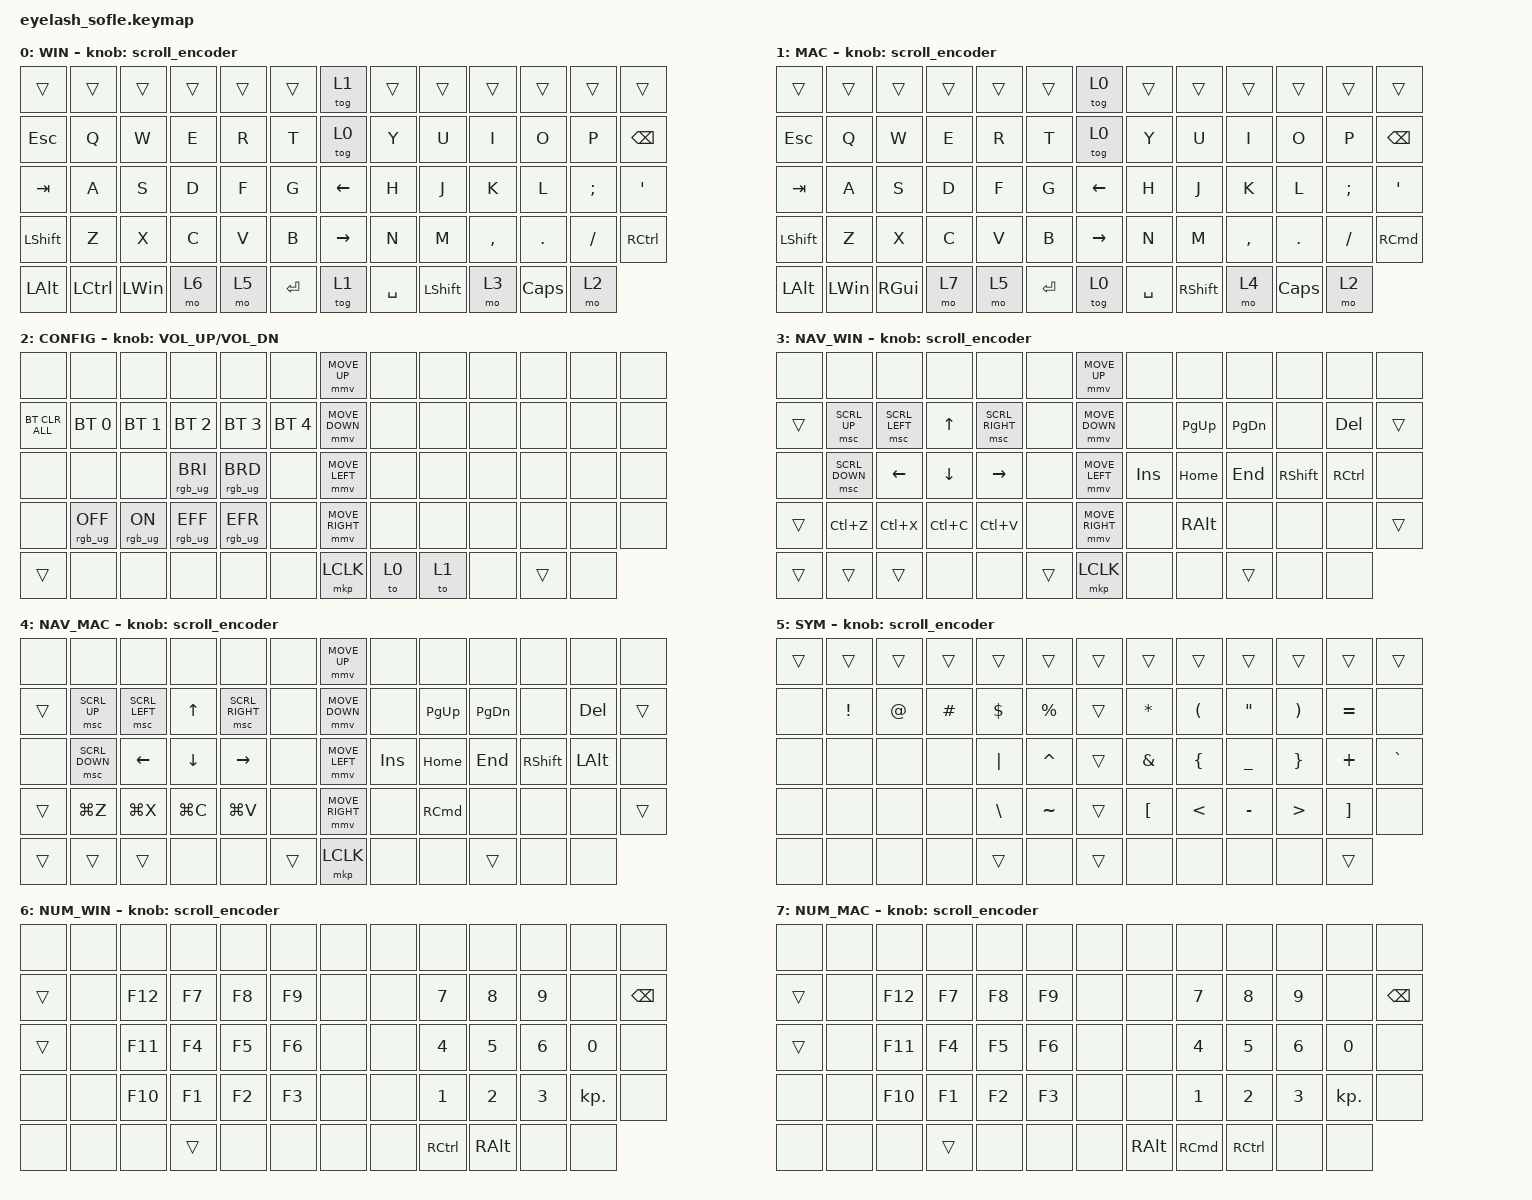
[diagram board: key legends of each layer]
#define ZMK_POINTING_DEFAULT_MOVE_VAL 1200  // 600
#define ZMK_POINTING_DEFAULT_SCRL_VAL 25    // 10

#include <input/processors.dtsi>
#include <zephyr/dt-bindings/input/input-event-codes.h>
#include <behaviors.dtsi>
#include <dt-bindings/zmk/bt.h>
#include <dt-bindings/zmk/keys.h>
#include <dt-bindings/zmk/pointing.h>
#include <dt-bindings/zmk/rgb.h>

&mmv_input_listener { input-processors = <&zip_xy_scaler 2 1>; };

&msc_input_listener { input-processors = <&zip_scroll_scaler 2 1>; };

&msc {
    acceleration-exponent = <1>;      // 0
    time-to-max-speed-ms = <100>;       // 300
    delay-ms = <0>;                   // 0
};

&mmv {
    time-to-max-speed-ms = <500>;
    acceleration-exponent = <1>;
    trigger-period-ms = <16>;
};

/ {
    scroll_encoder: scroll_encoder {
        compatible = "zmk,behavior-sensor-rotate";
        #sensor-binding-cells = <0>;
        bindings = <&msc SCRL_DOWN &msc SCRL_UP>;
        tap-ms = <100>;
    };

    behaviors {
        caps_shift: caps_shift {
            compatible = "zmk,behavior-hold-tap";
            #binding-cells = <2>;
            flavor = "tap-preferred";
            tapping-term-ms = <200>;
            bindings = <&kp>, <&kp>;
        };

        hrm: home_row_modifiers {
            compatible = "zmk,behavior-hold-tap";
            #binding-cells = <2>;
            flavor = "balanced";
            tapping-term-ms = <280>;
            quick-tap-ms = <175>;
            require-prior-idle-ms = <150>;
            bindings = <&kp>, <&kp>;
        };
    };

    combos {
        compatible = "zmk,combos";

        softoff {
            bindings = <&soft_off>;
            key-positions = <14 28 40>;
        };
    };

    macros {
        SHIFT_MCLK: SHIFT_MCLK {
            compatible = "zmk,behavior-macro";
            #binding-cells = <0>;
            bindings =
                <&macro_press>,
                <&kp LEFT_SHIFT>,
                <&macro_press>,
                <&mkp MB3>,
                <&macro_pause_for_release>,
                <&macro_release>,
                <&kp LEFT_SHIFT &mkp MB3>;

            label = "SHIFT_MCLK";
        };
    };

    keymap {
        compatible = "zmk,keymap";

        // Capa 0: Windows Base (L0 en Vial)

        Main {
            label = "Main_Win";
            display-name = "WIN";
            bindings = <
&trans          &trans            &trans        &trans  &trans  &trans       &tog 1           &trans     &trans          &trans     &trans    &trans    &trans
&kp ESCAPE      &kp Q             &kp W         &kp E   &kp R   &kp T        &tog 0           &kp Y      &kp U           &kp I      &kp O     &kp P     &kp BACKSPACE
&kp TAB         &kp A             &kp S         &kp D   &kp F   &kp G        &kp LEFT_ARROW   &kp H      &kp J           &kp K      &kp L     &kp SEMI  &kp SINGLE_QUOTE
&kp LEFT_SHIFT  &kp Z             &kp X         &kp C   &kp V   &kp B        &kp RIGHT_ARROW  &kp N      &kp M           &kp COMMA  &kp DOT   &kp FSLH  &kp RIGHT_CONTROL
&kp LEFT_ALT    &kp LEFT_CONTROL  &kp LEFT_WIN  &mo 6   &mo 5   &kp ENTER    &tog 1           &kp SPACE  &kp LEFT_SHIFT  &mo 3      &kp CAPS  &mo 2
            >;

            sensor-bindings = <&scroll_encoder>;
        };

        // Capa 1: Mac Base (L1 en Vial)

        Mac {
            label = "Main_Mac";
            display-name = "MAC";
            bindings = <
&trans          &trans        &trans    &trans  &trans  &trans       &tog 0           &trans     &trans           &trans     &trans    &trans    &trans
&kp ESCAPE      &kp Q         &kp W     &kp E   &kp R   &kp T        &tog 0           &kp Y      &kp U            &kp I      &kp O     &kp P     &kp BACKSPACE
&kp TAB         &kp A         &kp S     &kp D   &kp F   &kp G        &kp LEFT_ARROW   &kp H      &kp J            &kp K      &kp L     &kp SEMI  &kp SINGLE_QUOTE
&kp LEFT_SHIFT  &kp Z         &kp X     &kp C   &kp V   &kp B        &kp RIGHT_ARROW  &kp N      &kp M            &kp COMMA  &kp DOT   &kp FSLH  &kp RIGHT_COMMAND
&kp LEFT_ALT    &kp LEFT_WIN  &kp RGUI  &mo 7   &mo 5   &kp ENTER    &tog 0           &kp SPACE  &kp RIGHT_SHIFT  &mo 4      &kp CAPS  &mo 2
            >;

            sensor-bindings = <&scroll_encoder>;
        };

        // Capa 2: Configuración del Sistema y Bluetooth (L2 en Vial)

        HR_LConfig {
            display-name = "CONFIG";
            bindings = <
&none           &none            &none           &none            &none            &none           &mmv MOVE_UP     &none  &none  &none  &none   &none  &none
&bt BT_CLR_ALL  &bt BT_SEL 0     &bt BT_SEL 1    &bt BT_SEL 2     &bt BT_SEL 3     &bt BT_SEL 4    &mmv MOVE_DOWN   &none  &none  &none  &none   &none  &none
&none           &none            &none           &rgb_ug RGB_BRI  &rgb_ug RGB_BRD  &none           &mmv MOVE_LEFT   &none  &none  &none  &none   &none  &none
&none           &rgb_ug RGB_OFF  &rgb_ug RGB_ON  &rgb_ug RGB_EFF  &rgb_ug RGB_EFR  &none           &mmv MOVE_RIGHT  &none  &none  &none  &none   &none  &none
&trans          &none            &none           &none            &none            &none           &mkp LCLK        &to 0  &to 1  &none  &trans  &none
            >;

            sensor-bindings = <&inc_dec_kp C_VOLUME_UP C_VOL_DN>;
        };

        // Capa 3: Navegación Windows (L3 en Vial)

        OG_LMovement_Windows {
            display-name = "NAV_WIN";
            bindings = <
&none   &none           &none           &none           &none            &none     &mmv MOVE_UP     &none    &none          &none      &none            &none              &none
&trans  &msc SCRL_UP    &msc SCRL_LEFT  &kp UP_ARROW    &msc SCRL_RIGHT  &none     &mmv MOVE_DOWN   &none    &kp PG_UP      &kp PG_DN  &none            &kp DELETE         &trans
&none   &msc SCRL_DOWN  &kp LEFT_ARROW  &kp DOWN_ARROW  &kp RIGHT_ARROW  &none     &mmv MOVE_LEFT   &kp INS  &kp HOME       &kp END    &kp RIGHT_SHIFT  &kp RIGHT_CONTROL  &none
&trans  &kp LC(Z)       &kp LC(X)       &kp LC(C)       &kp LC(V)        &none     &mmv MOVE_RIGHT  &none    &kp RIGHT_ALT  &none      &none            &none              &trans
&trans  &trans          &trans          &none           &none            &trans    &mkp LCLK        &none    &none          &trans     &none            &none
            >;

            sensor-bindings = <&scroll_encoder>;
        };

        // Capa 4: Navegación Mac (L4 en Vial)

        OG_LMovement_Mac {
            display-name = "NAV_MAC";
            bindings = <
&none   &none           &none           &none           &none            &none     &mmv MOVE_UP     &none    &none              &none      &none            &none         &none
&trans  &msc SCRL_UP    &msc SCRL_LEFT  &kp UP_ARROW    &msc SCRL_RIGHT  &none     &mmv MOVE_DOWN   &none    &kp PG_UP          &kp PG_DN  &none            &kp DELETE    &trans
&none   &msc SCRL_DOWN  &kp LEFT_ARROW  &kp DOWN_ARROW  &kp RIGHT_ARROW  &none     &mmv MOVE_LEFT   &kp INS  &kp HOME           &kp END    &kp RIGHT_SHIFT  &kp LEFT_ALT  &none
&trans  &kp LG(Z)       &kp LG(X)       &kp LG(C)       &kp LG(V)        &none     &mmv MOVE_RIGHT  &none    &kp RIGHT_COMMAND  &none      &none            &none         &trans
&trans  &trans          &trans          &none           &none            &trans    &mkp LCLK        &none    &none              &trans     &none            &none
            >;

            sensor-bindings = <&scroll_encoder>;
        };

        // Capa 5: Símbolos (L5 en Vial)

        Signals {
            display-name = "SYM";
            bindings = <
&trans  &trans           &trans  &trans    &trans         &trans         &trans  &trans            &trans                &trans             &trans                 &trans             &trans
&none   &kp EXCLAMATION  &kp AT  &kp HASH  &kp DOLLAR     &kp PERCENT    &trans  &kp ASTERISK      &kp LEFT_PARENTHESIS  &kp DOUBLE_QUOTES  &kp RIGHT_PARENTHESIS  &kp EQUAL          &none
&none   &none            &none   &none     &kp PIPE       &kp CARET      &trans  &kp AMPS          &kp LEFT_BRACE        &kp UNDERSCORE     &kp RIGHT_BRACE        &kp PLUS           &kp GRAVE
&none   &none            &none   &none     &kp BACKSLASH  &kp TILDE      &trans  &kp LEFT_BRACKET  &kp LESS_THAN         &kp MINUS          &kp GREATER_THAN       &kp RIGHT_BRACKET  &none
&none   &none            &none   &none     &trans         &none          &trans  &none             &none                 &none              &none                  &trans
            >;

            sensor-bindings = <&scroll_encoder>;
        };

        // Capa 6: Números y Funciones Windows (L6 en Vial)

        NumberWin {
            display-name = "NUM_WIN";
            bindings = <
&none   &none  &none    &none   &none   &none     &none  &none  &none              &none          &none         &none       &none
&trans  &none  &kp F12  &kp F7  &kp F8  &kp F9    &none  &none  &kp NUMBER_7       &kp NUMBER_8   &kp NUMBER_9  &none       &kp BACKSPACE
&trans  &none  &kp F11  &kp F4  &kp F5  &kp F6    &none  &none  &kp NUMBER_4       &kp NUMBER_5   &kp NUMBER_6  &kp N0      &none
&none   &none  &kp F10  &kp F1  &kp F2  &kp F3    &none  &none  &kp NUMBER_1       &kp NUMBER_2   &kp NUMBER_3  &kp KP_DOT  &none
&none   &none  &none    &trans  &none   &none     &none  &none  &kp RIGHT_CONTROL  &kp RIGHT_ALT  &none         &none
            >;

            sensor-bindings = <&scroll_encoder>;
        };

        // Capa 7: Números y Funciones Mac (L7 en Vial)

        NumberMac {
            display-name = "NUM_MAC";
            bindings = <
&none   &none  &none    &none   &none   &none     &none  &none          &none              &none              &none         &none       &none
&trans  &none  &kp F12  &kp F7  &kp F8  &kp F9    &none  &none          &kp NUMBER_7       &kp NUMBER_8       &kp NUMBER_9  &none       &kp BACKSPACE
&trans  &none  &kp F11  &kp F4  &kp F5  &kp F6    &none  &none          &kp NUMBER_4       &kp NUMBER_5       &kp NUMBER_6  &kp N0      &none
&none   &none  &kp F10  &kp F1  &kp F2  &kp F3    &none  &none          &kp NUMBER_1       &kp NUMBER_2       &kp NUMBER_3  &kp KP_DOT  &none
&none   &none  &none    &trans  &none   &none     &none  &kp RIGHT_ALT  &kp RIGHT_COMMAND  &kp RIGHT_CONTROL  &none         &none
            >;

            sensor-bindings = <&scroll_encoder>;
        };
    };
};
